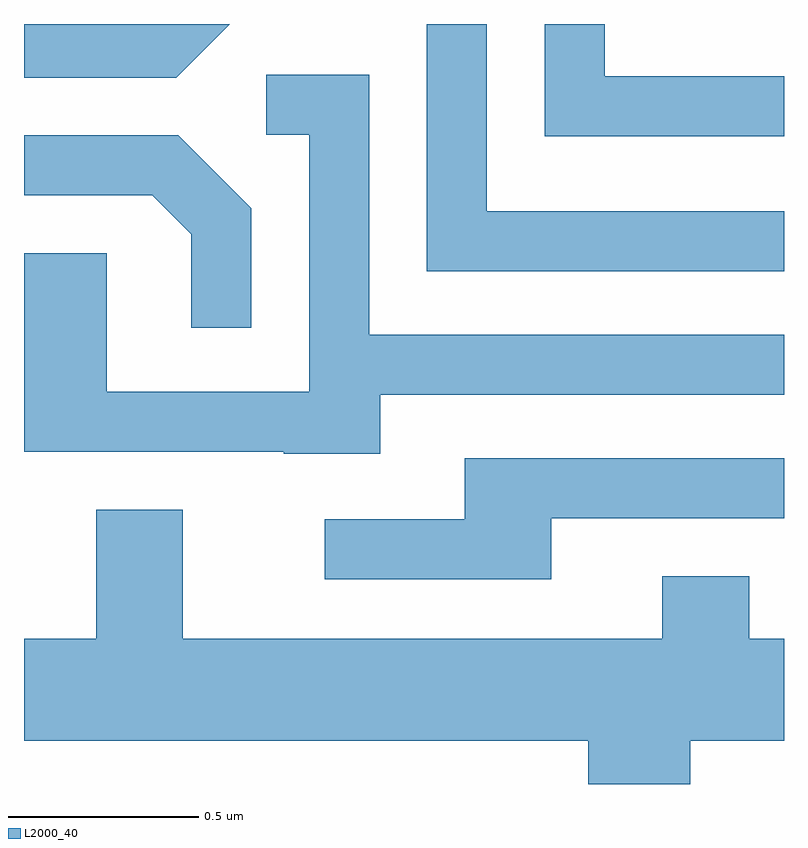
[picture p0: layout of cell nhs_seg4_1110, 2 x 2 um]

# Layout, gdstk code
import gdstk
lib = gdstk.Library(unit=1e-6, precision=1e-09)
def P(c, l, *ps):  # polygons
    for p in ps: c.add(gdstk.Polygon(p, *l))
L2000_40 = (2000, 40)

nhs_seg4_1110 = lib.new_cell('nhs_seg4_1110')
P(nhs_seg4_1110, L2000_40, [(194.153,1269.982),(193.611,1269.982),(193.611,1269.841),(194.012,1269.841)],
  [(195.611,1269.489),(194.829,1269.489),(194.829,1269.982),(194.671,1269.982),(194.671,1269.331),(195.611,1269.331)],
  [(195.611,1269.844),(195.139,1269.844),(195.139,1269.982),(194.981,1269.982),(194.981,1269.686),(195.611,1269.686)],
  [(194.549,1269.006),(195.611,1269.006),(195.611,1269.164),(194.519,1269.164),(194.519,1269.849),(194.248,1269.849),(194.248,1269.691),(194.361,1269.691),(194.361,1269.014),(193.829,1269.014),(193.829,1269.379),(193.611,1269.379),(193.611,1268.856),(194.295,1268.856),(194.295,1268.851),(194.549,1268.851)],
  [(194.209,1269.497),(194.017,1269.689),(193.611,1269.689),(193.611,1269.531),(193.949,1269.531),(194.051,1269.429),(194.051,1269.183),(194.209,1269.183)],
  [(194.999,1268.681),(195.611,1268.681),(195.611,1268.839),(194.771,1268.839),(194.771,1268.679),(194.403,1268.679),(194.403,1268.521),(194.999,1268.521)],
  [(195.364,1268.096),(195.611,1268.096),(195.611,1268.364),(195.519,1268.364),(195.519,1268.529),(195.291,1268.529),(195.291,1268.364),(194.029,1268.364),(194.029,1268.704),(193.801,1268.704),(193.801,1268.364),(193.611,1268.364),(193.611,1268.096),(195.096,1268.096),(195.096,1267.982),(195.364,1267.982)])

lib.write_gds('nhs_seg4_1110.gds')
